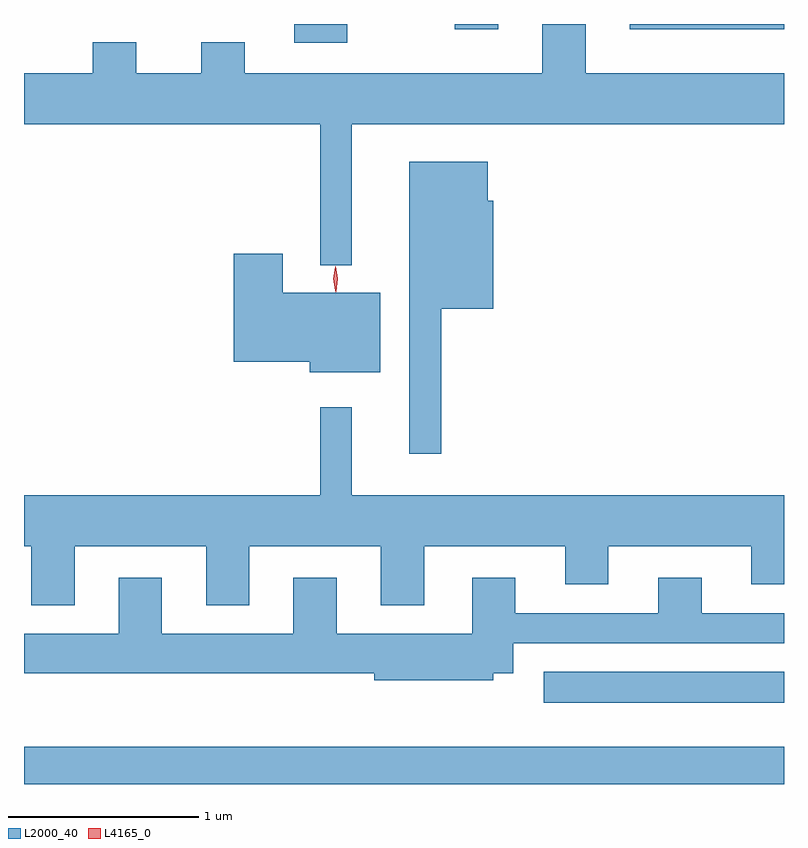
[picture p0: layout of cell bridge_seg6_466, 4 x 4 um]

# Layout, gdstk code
import gdstk
lib = gdstk.Library(unit=1e-6, precision=1e-09)
def R(c, l, rs):  # rectangles x0, y0, x1, y1
    for r in rs: c.add(gdstk.rectangle(r[:2], r[2:], *l))
def P(c, l, *ps):  # polygons
    for p in ps: c.add(gdstk.Polygon(p, *l))
L2000_40 = (2000, 40)
L4165_0 = (4165, 0)

bridge_seg6_466 = lib.new_cell('bridge_seg6_466')
R(bridge_seg6_466, L2000_40, [(762.873,1533.244,766.873,1533.439), (765.608,1533.671,766.873,1533.834), (764.296,1537.146,764.574,1537.244), (765.141,1537.216,765.369,1537.244), (766.061,1537.216,766.873,1537.244)])
P(bridge_seg6_466, L2000_40, [(764.599,1536.716),(766.873,1536.716),(766.873,1536.984),(765.829,1536.984),(765.829,1537.244),(765.601,1537.244),(765.601,1536.984),(764.034,1536.984),(764.034,1537.149),(763.806,1537.149),(763.806,1536.984),(763.464,1536.984),(763.464,1537.149),(763.236,1537.149),(763.236,1536.984),(762.873,1536.984),(762.873,1536.716),(764.431,1536.716),(764.431,1535.973),(764.599,1535.973)],
  [(765.069,1535.746),(765.344,1535.746),(765.344,1536.314),(765.314,1536.314),(765.314,1536.519),(764.901,1536.519),(764.901,1534.983),(765.069,1534.983)],
  [(764.749,1535.829),(764.234,1535.829),(764.234,1536.034),(763.976,1536.034),(763.976,1535.466),(764.376,1535.466),(764.376,1535.411),(764.749,1535.411)],
  [(763.139,1534.496),(763.831,1534.496),(763.831,1534.186),(764.059,1534.186),(764.059,1534.496),(764.751,1534.496),(764.751,1534.186),(764.979,1534.186),(764.979,1534.496),(765.721,1534.496),(765.721,1534.296),(765.949,1534.296),(765.949,1534.496),(766.701,1534.496),(766.701,1534.296),(766.873,1534.296),(766.873,1534.764),(764.599,1534.764),(764.599,1535.228),(764.431,1535.228),(764.431,1534.764),(762.873,1534.764),(762.873,1534.496),(762.911,1534.496),(762.911,1534.186),(763.139,1534.186)],
  [(765.344,1533.826),(765.449,1533.826),(765.449,1533.986),(766.873,1533.986),(766.873,1534.144),(766.439,1534.144),(766.439,1534.329),(766.211,1534.329),(766.211,1534.144),(765.459,1534.144),(765.459,1534.329),(765.231,1534.329),(765.231,1534.034),(764.519,1534.034),(764.519,1534.329),(764.291,1534.329),(764.291,1534.034),(763.599,1534.034),(763.599,1534.329),(763.371,1534.329),(763.371,1534.034),(762.873,1534.034),(762.873,1533.826),(764.716,1533.826),(764.716,1533.791),(765.344,1533.791)])
P(bridge_seg6_466, L4165_0, [(764.515,1535.833),(764.515,1535.834),(764.505,1535.902),(764.514,1535.97),(764.515,1535.97),(764.515,1535.97),(764.525,1535.902),(764.516,1535.834)],
  [(764.511,1535.841),(764.51,1535.842),(764.501,1535.904),(764.51,1535.967),(764.511,1535.967),(764.512,1535.967),(764.521,1535.904),(764.512,1535.842)])

lib.write_gds('bridge_seg6_466.gds')
